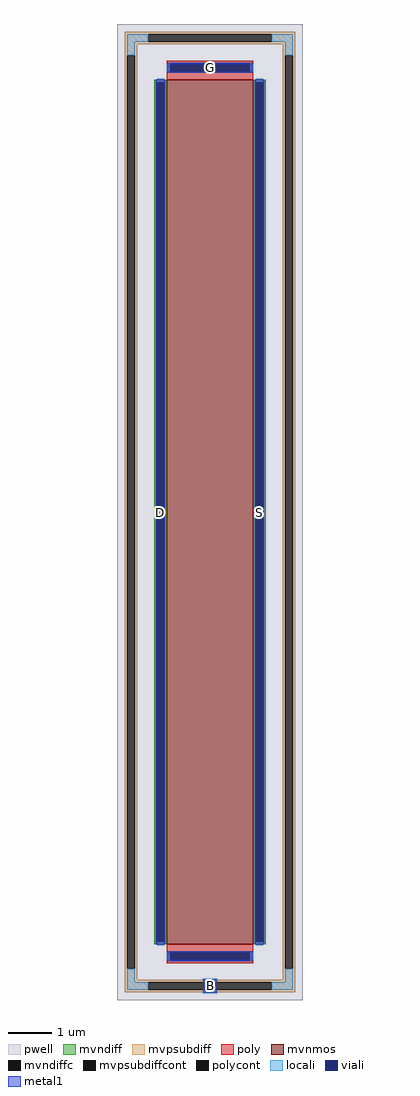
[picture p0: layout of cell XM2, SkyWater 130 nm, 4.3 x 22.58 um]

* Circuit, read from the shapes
.subckt XM2 B D S G
XM1 S G D B sky130_fd_pr__nfet_g5v0d10v5 w=20 l=2
.ends

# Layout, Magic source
magic
tech sky130A
magscale 1 2
<< pwell >>
rect -430 -2258 430 2258
<< mvnmos >>
rect -200 -2000 200 2000
<< mvndiff >>
rect -258 1988 -200 2000
rect -258 -1988 -246 1988
rect -212 -1988 -200 1988
rect -258 -2000 -200 -1988
rect 200 1988 258 2000
rect 200 -1988 212 1988
rect 246 -1988 258 1988
rect 200 -2000 258 -1988
<< mvndiffc >>
rect -246 -1988 -212 1988
rect 212 -1988 246 1988
<< mvpsubdiff >>
rect -394 2210 394 2222
rect -394 2176 -286 2210
rect 286 2176 394 2210
rect -394 2164 394 2176
rect -394 2114 -336 2164
rect -394 -2114 -382 2114
rect -348 -2114 -336 2114
rect 336 2114 394 2164
rect -394 -2164 -336 -2114
rect 336 -2114 348 2114
rect 382 -2114 394 2114
rect 336 -2164 394 -2114
rect -394 -2176 394 -2164
rect -394 -2210 -286 -2176
rect 286 -2210 394 -2176
rect -394 -2222 394 -2210
<< mvpsubdiffcont >>
rect -286 2176 286 2210
rect -382 -2114 -348 2114
rect 348 -2114 382 2114
rect -286 -2210 286 -2176
<< poly >>
rect -200 2072 200 2088
rect -200 2038 -184 2072
rect 184 2038 200 2072
rect -200 2000 200 2038
rect -200 -2038 200 -2000
rect -200 -2072 -184 -2038
rect 184 -2072 200 -2038
rect -200 -2088 200 -2072
<< polycont >>
rect -184 2038 184 2072
rect -184 -2072 184 -2038
<< locali >>
rect -382 2176 -286 2210
rect 286 2176 382 2210
rect -382 2114 -348 2176
rect 348 2114 382 2176
rect -200 2038 -184 2072
rect 184 2038 200 2072
rect -246 1988 -212 2004
rect -246 -2004 -212 -1988
rect 212 1988 246 2004
rect 212 -2004 246 -1988
rect -200 -2072 -184 -2038
rect 184 -2072 200 -2038
rect -382 -2176 -348 -2114
rect -33 -2176 33 -2160
rect 348 -2176 382 -2114
rect -382 -2210 -286 -2176
rect 286 -2210 382 -2176
rect -33 -2226 33 -2210
<< viali >>
rect -184 2038 184 2072
rect -246 -1988 -212 1988
rect 212 -1988 246 1988
rect -184 -2072 184 -2038
rect -17 -2210 17 -2176
<< metal1 >>
rect -196 2072 196 2078
rect -196 2038 -184 2072
rect 184 2038 196 2072
rect -196 2032 196 2038
rect -252 1988 -206 2000
rect -252 -1988 -246 1988
rect -212 -1988 -206 1988
rect -252 -2000 -206 -1988
rect 206 1988 252 2000
rect 206 -1988 212 1988
rect 246 -1988 252 1988
rect 206 -2000 252 -1988
rect -196 -2038 196 -2032
rect -196 -2072 -184 -2038
rect 184 -2072 196 -2038
rect -196 -2078 196 -2072
rect -30 -2176 30 -2163
rect -30 -2210 -17 -2176
rect 17 -2210 30 -2176
rect -30 -2223 30 -2210
<< labels >>
rlabel mvpsubdiffcont 0 -2193 0 -2193 0 B
port 4 nsew
rlabel mvndiffc -229 0 -229 0 0 D
port 5 nsew
rlabel mvndiffc 229 0 229 0 0 S
port 6 nsew
rlabel polycont 0 2055 0 2055 0 G
port 7 nsew
<< properties >>
string FIXED_BBOX -365 -2193 365 2193
<< end >>
